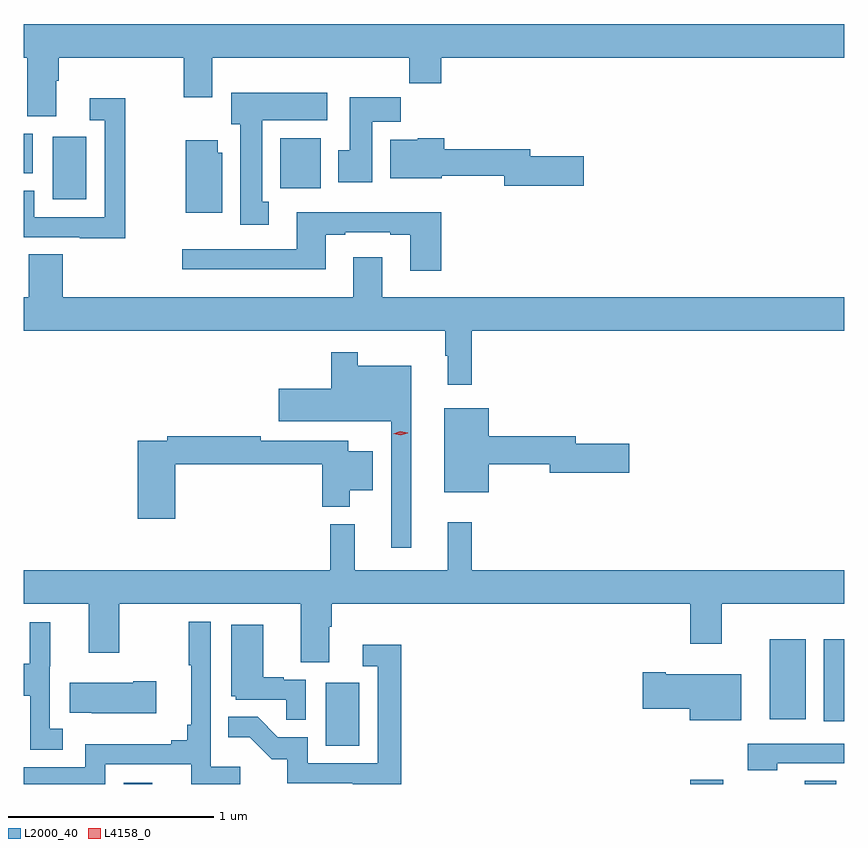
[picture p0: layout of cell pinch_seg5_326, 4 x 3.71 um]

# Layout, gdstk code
import gdstk
lib = gdstk.Library(unit=1e-6, precision=1e-09)
def R(c, l, rs):  # rectangles x0, y0, x1, y1
    for r in rs: c.add(gdstk.rectangle(r[:2], r[2:], *l))
def P(c, l, *ps):  # polygons
    for p in ps: c.add(gdstk.Polygon(p, *l))
L2000_40 = (2000, 40)
L4158_0 = (4158, 0)

pinch_seg5_326 = lib.new_cell('pinch_seg5_326')
R(pinch_seg5_326, L2000_40, [(946.482,879.857,946.621,879.864), (949.247,879.857,949.407,879.877), (949.804,879.857,949.958,879.872), (947.468,880.044,947.632,880.351), (949.898,880.164,949.996,880.564), (949.634,880.172,949.81,880.564), (946.136,882.708,946.3,883.015), (947.246,882.764,947.443,883.006), (945.996,882.835,946.038,883.029)])
P(pinch_seg5_326, L2000_40, [(946.153,883.288),(946.166,883.288),(946.166,883.4),(946.775,883.4),(946.775,883.206),(946.915,883.206),(946.915,883.4),(947.875,883.4),(947.875,883.276),(948.032,883.276),(948.032,883.4),(949.996,883.4),(949.996,883.564),(945.996,883.564),(945.996,883.4),(946.013,883.4),(946.013,883.114),(946.153,883.114)],
  [(947.191,882.698),(947.158,882.698),(947.158,883.094),(947.476,883.094),(947.476,883.228),(947.006,883.228),(947.006,883.074),(947.051,883.074),(947.051,882.585),(947.191,882.585)],
  [(947.695,883.088),(947.834,883.088),(947.834,883.207),(947.585,883.207),(947.585,882.948),(947.528,882.948),(947.528,882.792),(947.695,882.792)],
  [(946.49,883.201),(946.317,883.201),(946.317,883.095),(946.389,883.095),(946.389,882.621),(946.047,882.621),(946.047,882.75),(945.996,882.75),(945.996,882.525),(946.267,882.525),(946.267,882.52),(946.49,882.52)],
  [(948.727,882.918),(948.466,882.918),(948.466,882.952),(948.047,882.952),(948.047,883.006),(947.916,883.006),(947.916,883),(947.783,883),(947.783,882.812),(948.034,882.812),(948.034,882.823),(948.338,882.823),(948.338,882.776),(948.727,882.776)],
  [(946.963,882.936),(946.942,882.936),(946.942,882.997),(946.784,882.997),(946.784,882.644),(946.963,882.644)],
  [(948.032,882.646),(947.327,882.646),(947.327,882.465),(946.767,882.465),(946.767,882.368),(947.467,882.368),(947.467,882.537),(947.563,882.537),(947.563,882.549),(947.783,882.549),(947.783,882.537),(947.879,882.537),(947.879,882.36),(948.032,882.36)],
  [(948.179,882.068),(949.996,882.068),(949.996,882.232),(947.743,882.232),(947.743,882.427),(947.603,882.427),(947.603,882.232),(946.184,882.232),(946.184,882.44),(946.019,882.44),(946.019,882.232),(945.996,882.232),(945.996,882.068),(948.051,882.068),(948.051,881.945),(948.062,881.945),(948.062,881.805),(948.179,881.805)],
  [(947.884,881.896),(947.623,881.896),(947.623,881.962),(947.494,881.962),(947.494,881.785),(947.238,881.785),(947.238,881.627),(947.787,881.627),(947.787,881.01),(947.884,881.01)],
  [(948.262,881.416),(948.56,881.416),(948.56,881.374),(948.949,881.374),(948.949,881.516),(948.688,881.516),(948.688,881.552),(948.262,881.552),(948.262,881.689),(948.047,881.689),(948.047,881.279),(948.262,881.279)],
  [(946.733,881.416),(947.45,881.416),(947.45,881.21),(947.584,881.21),(947.584,881.291),(947.698,881.291),(947.698,881.479),(947.578,881.479),(947.578,881.532),(947.15,881.532),(947.15,881.552),(946.696,881.552),(946.696,881.532),(946.55,881.532),(946.55,881.151),(946.733,881.151)],
  [(947.485,880.624),(947.498,880.624),(947.498,880.736),(949.247,880.736),(949.247,880.542),(949.399,880.542),(949.399,880.736),(949.996,880.736),(949.996,880.9),(948.179,880.9),(948.179,881.134),(948.062,881.134),(948.062,880.9),(947.609,880.9),(947.609,881.125),(947.491,881.125),(947.491,880.9),(945.996,880.9),(945.996,880.736),(946.313,880.736),(946.313,880.497),(946.461,880.497),(946.461,880.736),(947.345,880.736),(947.345,880.45),(947.485,880.45)],
  [(946.392,879.954),(946.811,879.954),(946.811,879.857),(947.05,879.857),(947.05,879.94),(946.908,879.94),(946.908,880.648),(946.8,880.648),(946.8,880.435),(946.811,880.435),(946.811,880.147),(946.792,880.147),(946.792,880.07),(946.715,880.07),(946.715,880.051),(946.296,880.051),(946.296,879.939),(945.996,879.939),(945.996,879.857),(946.392,879.857)],
  [(946.186,880.127),(946.122,880.127),(946.122,880.431),(946.124,880.431),(946.124,880.645),(946.025,880.645),(946.025,880.443),(945.996,880.443),(945.996,880.288),(946.026,880.288),(946.026,880.024),(946.186,880.024)],
  [(947.37,880.365),(947.264,880.365),(947.264,880.378),(947.164,880.378),(947.164,880.633),(947.006,880.633),(947.006,880.284),(947.028,880.284),(947.028,880.269),(947.275,880.269),(947.275,880.171),(947.37,880.171)],
  [(947.837,880.537),(947.649,880.537),(947.649,880.431),(947.721,880.431),(947.721,879.957),(947.379,879.957),(947.379,880.086),(947.235,880.086),(947.137,880.184),(946.993,880.184),(946.993,880.085),(947.097,880.085),(947.204,879.978),(947.281,879.978),(947.281,879.861),(947.599,879.861),(947.599,879.857),(947.837,879.857)],
  [(949.495,880.393),(949.126,880.393),(949.126,880.401),(949.014,880.401),(949.014,880.223),(949.244,880.223),(949.244,880.169),(949.495,880.169)],
  [(946.642,880.359),(946.529,880.359),(946.529,880.351),(946.219,880.351),(946.219,880.205),(946.327,880.205),(946.327,880.202),(946.642,880.202)],
  [(949.671,879.957),(949.996,879.957),(949.996,880.053),(949.527,880.053),(949.527,879.925),(949.671,879.925)])
P(pinch_seg5_326, L4158_0, [(947.833,881.558),(947.797,881.566),(947.797,881.566),(947.797,881.566),(947.832,881.578),(947.868,881.57),(947.868,881.57),(947.868,881.569)])

lib.write_gds('pinch_seg5_326.gds')
